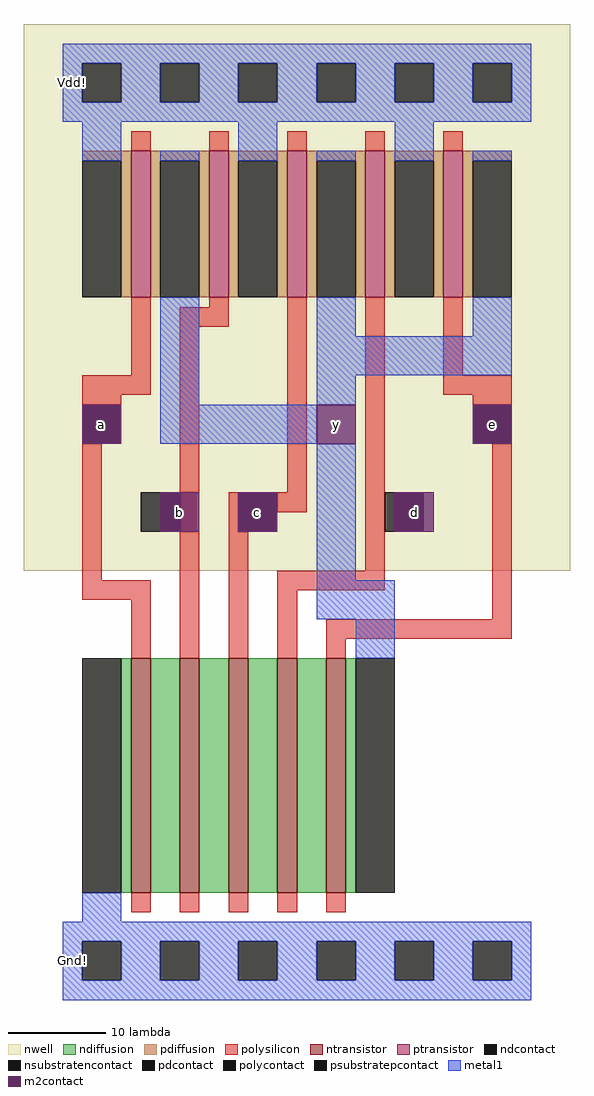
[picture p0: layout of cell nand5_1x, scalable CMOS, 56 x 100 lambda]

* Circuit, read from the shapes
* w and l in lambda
.subckt nand5_1x Gnd! Vdd! a b c d e y
M1 n1 a Gnd! Gnd! nfet w=24 l=2
M2 n2 b n1 Gnd! nfet w=24 l=2
M3 n3 c n2 Gnd! nfet w=24 l=2
M4 n4 d n3 Gnd! nfet w=24 l=2
M5 y e n4 Gnd! nfet w=24 l=2
M6 y a Vdd! Vdd! pfet w=15 l=2
M7 Vdd! b y Vdd! pfet w=15 l=2
M8 y c Vdd! Vdd! pfet w=15 l=2
M9 Vdd! d y Vdd! pfet w=15 l=2
M10 y e Vdd! Vdd! pfet w=15 l=2
.ends

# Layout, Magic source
magic
tech scmos
<< nwell >>
rect -6 40 50 96
<< ntransistor >>
rect 5 7 7 31
rect 10 7 12 31
rect 15 7 17 31
rect 20 7 22 31
rect 25 7 27 31
<< ptransistor >>
rect 5 68 7 83
rect 13 68 15 83
rect 21 68 23 83
rect 29 68 31 83
rect 37 68 39 83
<< ndiffusion >>
rect 4 7 5 31
rect 7 7 10 31
rect 12 7 15 31
rect 17 7 20 31
rect 22 7 25 31
rect 27 7 28 31
<< pdiffusion >>
rect 0 82 5 83
rect 4 68 5 82
rect 7 82 13 83
rect 7 68 8 82
rect 12 68 13 82
rect 15 82 21 83
rect 15 68 16 82
rect 20 68 21 82
rect 23 82 29 83
rect 23 68 24 82
rect 28 68 29 82
rect 31 82 37 83
rect 31 68 32 82
rect 36 68 37 82
rect 39 82 44 83
rect 39 68 40 82
<< ndcontact >>
rect 0 7 4 31
rect 28 7 32 31
<< pdcontact >>
rect 0 68 4 82
rect 8 68 12 82
rect 16 68 20 82
rect 24 68 28 82
rect 32 68 36 82
rect 40 68 44 82
<< psubstratepcontact >>
rect 0 -2 4 2
rect 8 -2 12 2
rect 16 -2 20 2
rect 24 -2 28 2
rect 32 -2 36 2
rect 40 -2 44 2
<< nsubstratencontact >>
rect 0 88 4 92
rect 8 88 12 92
rect 16 88 20 92
rect 24 88 28 92
rect 32 88 36 92
rect 40 88 44 92
<< polysilicon >>
rect 5 83 7 85
rect 13 83 15 85
rect 21 83 23 85
rect 29 83 31 85
rect 37 83 39 85
rect 5 60 7 68
rect 13 67 15 68
rect 0 58 7 60
rect 10 65 15 67
rect 0 57 4 58
rect 0 39 2 53
rect 0 37 7 39
rect 5 31 7 37
rect 10 31 12 65
rect 21 48 23 68
rect 15 44 16 48
rect 20 46 23 48
rect 15 31 17 44
rect 29 40 31 68
rect 37 60 39 68
rect 37 58 44 60
rect 40 57 44 58
rect 20 38 31 40
rect 20 31 22 38
rect 42 35 44 53
rect 25 33 44 35
rect 25 31 27 33
rect 5 5 7 7
rect 10 5 12 7
rect 15 5 17 7
rect 20 5 22 7
rect 25 5 27 7
<< polycontact >>
rect 0 53 4 57
rect 6 44 10 48
rect 16 44 20 48
rect 40 53 44 57
rect 31 44 35 48
<< metal1 >>
rect -2 92 46 94
rect -2 88 0 92
rect 4 88 8 92
rect 12 88 16 92
rect 20 88 24 92
rect 28 88 32 92
rect 36 88 40 92
rect 44 88 46 92
rect -2 86 46 88
rect 0 82 4 86
rect 8 82 12 83
rect 16 82 20 86
rect 24 82 28 83
rect 32 82 36 86
rect 40 82 44 83
rect 8 57 12 68
rect 24 64 28 68
rect 40 64 44 68
rect 24 60 44 64
rect 24 57 28 60
rect 8 53 24 57
rect 24 39 28 53
rect 24 35 32 39
rect 28 31 32 35
rect 0 4 4 7
rect -2 2 46 4
rect -2 -2 0 2
rect 4 -2 8 2
rect 12 -2 16 2
rect 20 -2 24 2
rect 28 -2 32 2
rect 36 -2 40 2
rect 44 -2 46 2
rect -2 -4 46 -2
<< m2contact >>
rect 0 53 4 57
rect 24 53 28 57
rect 40 53 44 57
rect 8 44 10 48
rect 10 44 12 48
rect 16 44 20 48
rect 32 44 35 48
rect 35 44 36 48
<< labels >>
rlabel metal1 -1 0 -1 0 2 Gnd!
rlabel metal1 -1 90 -1 90 3 Vdd!
rlabel m2contact 2 55 2 55 1 a
rlabel m2contact 10 46 10 46 1 b
rlabel m2contact 18 46 18 46 1 c
rlabel m2contact 26 55 26 55 1 y
rlabel m2contact 42 55 42 55 1 e
rlabel m2contact 34 46 34 46 1 d
<< end >>
